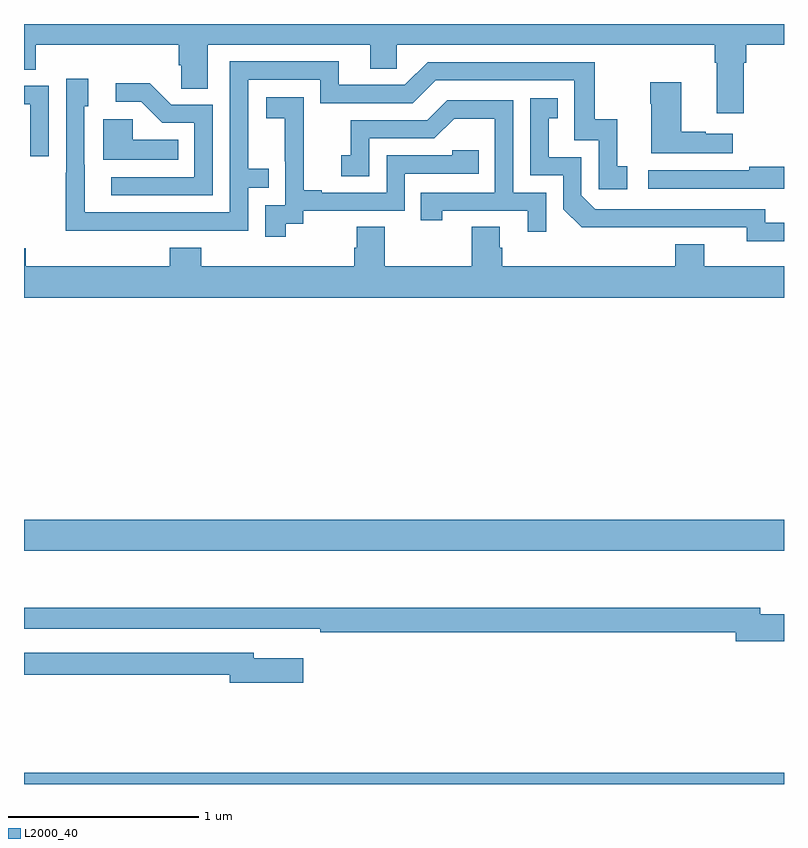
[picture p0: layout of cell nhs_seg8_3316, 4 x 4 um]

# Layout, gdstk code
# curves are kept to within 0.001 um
import gdstk
lib = gdstk.Library(unit=1e-6, precision=1e-09)
def R(c, l, rs):  # rectangles x0, y0, x1, y1
    for r in rs: c.add(gdstk.rectangle(r[:2], r[2:], *l))
def P(c, l, *ps):  # polygons
    for p in ps: c.add(gdstk.Polygon(p, *l))
L2000_40 = (2000, 40)

nhs_seg8_3316 = lib.new_cell('nhs_seg8_3316')
R(nhs_seg8_3316, L2000_40, [(315,1153.9,319,1153.96), (315,1155.128,319,1155.292)])
P(nhs_seg8_3316, L2000_40, [(318.787,1157.696),(318.8,1157.696),(318.8,1157.792),(319,1157.792),(319,1157.9),(315,1157.9),(315,1157.659),(315.062,1157.659),(315.062,1157.792),(315.815,1157.792),(315.815,1157.683),(315.828,1157.683),(315.828,1157.56),(315.967,1157.56),(315.967,1157.792),(316.823,1157.792),(316.823,1157.665),(316.962,1157.665),(316.962,1157.792),(318.635,1157.792),(318.635,1157.696),(318.647,1157.696),(318.647,1157.43),(318.787,1157.43)],
  [(315.683,1156.812),(316.179,1156.812),(316.179,1157.037),(316.289,1157.037),(316.289,1157.138),(316.179,1157.138),(316.179,1157.607),(316.56,1157.607),(316.56,1157.484),(317.046,1157.484),(317.166,1157.604),(317.895,1157.604),(317.895,1157.289),(318.024,1157.289),(318.024,1157.031),(318.175,1157.031),(318.175,1157.151),(318.122,1157.151),(318.122,1157.398),(318.004,1157.398),(318.004,1157.7),(317.124,1157.7),(317.004,1157.58),(316.657,1157.58),(316.657,1157.703),(316.083,1157.703),(316.083,1156.908),(315.319,1156.908),(315.318,1157.466),(315.337,1157.466),(315.337,1157.611),(315.222,1157.611),(315.222,1157.117),(315.22,1157.117),(315.22,1156.811)],
  [(318.73,1157.323),(318.587,1157.323),(318.587,1157.333),(318.46,1157.333),(318.46,1157.593),(318.295,1157.593),(318.295,1157.48),(318.302,1157.48),(318.302,1157.219),(318.73,1157.219)],
  [(315.993,1157.475),(315.774,1157.475),(315.661,1157.588),(315.483,1157.588),(315.483,1157.49),(315.617,1157.49),(315.728,1157.379),(315.897,1157.379),(315.897,1157.094),(315.459,1157.094),(315.459,1156.998),(315.993,1156.998)],
  [(315.129,1157.574),(315,1157.574),(315,1157.478),(315.033,1157.478),(315.033,1157.205),(315.129,1157.205)],
  [(316.378,1156.849),(316.47,1156.849),(316.47,1156.917),(317.004,1156.917),(317.004,1157.112),(317.393,1157.112),(317.393,1157.235),(317.253,1157.235),(317.253,1157.208),(316.908,1157.208),(316.908,1157.013),(316.567,1157.013),(316.567,1157.026),(316.472,1157.026),(316.472,1157.309),(316.473,1157.309),(316.473,1157.515),(316.275,1157.515),(316.275,1157.405),(316.373,1157.405),(316.373,1157.177),(316.374,1157.177),(316.374,1156.947),(316.269,1156.947),(316.269,1156.779),(316.378,1156.779)],
  [(319,1156.854),(318.9,1156.854),(318.9,1156.926),(318.006,1156.926),(317.934,1156.998),(317.934,1157.199),(317.761,1157.199),(317.761,1157.403),(317.81,1157.403),(317.81,1157.509),(317.664,1157.509),(317.664,1157.103),(317.838,1157.103),(317.838,1156.926),(317.936,1156.829),(318.804,1156.83),(318.804,1156.757),(319,1156.757)],
  [(317.748,1157.013),(317.574,1157.013),(317.574,1157.499),(317.228,1157.499),(317.123,1157.394),(316.72,1157.394),(316.72,1157.209),(316.671,1157.209),(316.671,1157.1),(316.818,1157.1),(316.818,1157.298),(317.16,1157.298),(317.264,1157.402),(317.478,1157.402),(317.478,1157.013),(317.089,1157.013),(317.089,1156.866),(317.2,1156.866),(317.2,1156.917),(317.651,1156.917),(317.651,1156.806),(317.748,1156.806)],
  [(315.812,1157.29),(315.573,1157.29),(315.573,1157.398),(315.416,1157.398),(315.416,1157.186),(315.812,1157.186)],
  [(319,1157.15),(318.817,1157.15),(318.817,1157.13),(318.285,1157.13),(318.285,1157.034),(319,1157.034)],
  [(316.751,1156.832),(316.751,1156.722),(316.739,1156.722),(316.739,1156.624),(315.932,1156.624),(315.932,1156.723),(315.767,1156.723),(315.767,1156.624),(315.008,1156.624),(315.008,1156.72),(315,1156.72),(315,1156.46),(319,1156.46),(319,1156.624),(318.58,1156.624),(318.58,1156.741),(318.428,1156.741),(318.428,1156.624),(317.516,1156.624),(317.516,1156.722),(317.503,1156.722),(317.503,1156.832),(317.356,1156.832),(317.356,1156.624),(316.899,1156.624),(316.899,1156.832)],
  [(319,1154.793),(318.874,1154.793),(318.874,1154.827),(315,1154.827),(315,1154.718),(316.306,1154.718),(316.306,1154.717),(316.558,1154.717),(316.558,1154.698),(318.746,1154.698),(318.746,1154.651),(319,1154.651)],
  [(316.471,1154.563),(316.21,1154.563),(316.21,1154.592),(315,1154.592),(315,1154.476),(316.082,1154.476),(316.082,1154.434),(316.471,1154.434)])

lib.write_gds('nhs_seg8_3316.gds')
